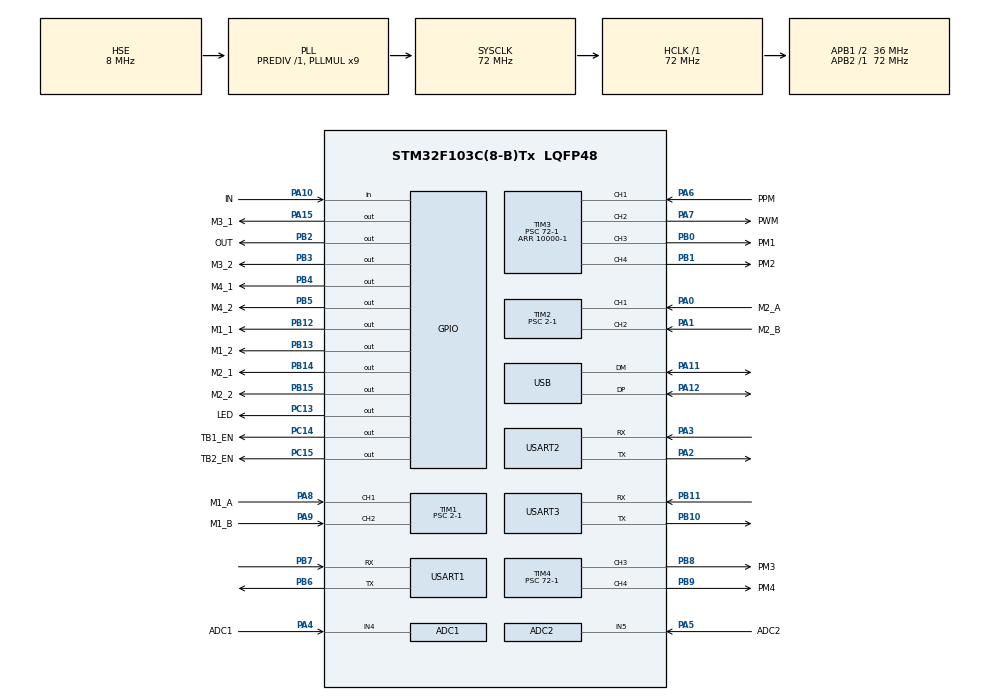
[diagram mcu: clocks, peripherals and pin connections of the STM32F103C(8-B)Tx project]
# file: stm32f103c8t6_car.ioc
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ADC1.Channel-2\#ChannelRegularConversion=ADC_CHANNEL_4
ADC1.NbrOfConversionFlag=1
ADC1.Rank-2\#ChannelRegularConversion=1
ADC1.SamplingTime-2\#ChannelRegularConversion=ADC_SAMPLETIME_1CYCLE_5
ADC1.master=1
ADC2.Channel-2\#ChannelRegularConversion=ADC_CHANNEL_5
ADC2.NbrOfConversionFlag=1
ADC2.Rank-2\#ChannelRegularConversion=1
ADC2.SamplingTime-2\#ChannelRegularConversion=ADC_SAMPLETIME_1CYCLE_5
Mcu.Family=STM32F1
Mcu.Name=STM32F103C(8-B)Tx
Mcu.Package=LQFP48
NVIC.ADC1_2_IRQn=true\:0\:0\:false\:false\:true\:true\:true\:true
NVIC.PriorityGroup=NVIC_PRIORITYGROUP_4
NVIC.TIM1_BRK_IRQn=true\:0\:0\:false\:false\:true\:true\:true\:true
NVIC.TIM1_CC_IRQn=true\:0\:0\:false\:false\:true\:true\:true\:true
NVIC.TIM1_TRG_COM_IRQn=true\:0\:0\:false\:false\:true\:true\:true\:true
NVIC.TIM1_UP_IRQn=true\:0\:0\:false\:false\:true\:true\:true\:true
NVIC.TIM2_IRQn=true\:0\:0\:false\:false\:true\:true\:true\:true
NVIC.TIM3_IRQn=true\:0\:0\:false\:false\:true\:true\:true\:true
NVIC.TIM4_IRQn=true\:0\:0\:false\:false\:true\:true\:true\:true
NVIC.USART1_IRQn=true\:0\:0\:false\:false\:true\:true\:true\:true
NVIC.USART2_IRQn=true\:0\:0\:false\:false\:true\:true\:true\:true
NVIC.USART3_IRQn=true\:0\:0\:false\:false\:true\:true\:true\:true
NVIC.USB_HP_CAN1_TX_IRQn=true\:0\:0\:false\:false\:true\:true\:true\:true
NVIC.USB_LP_CAN1_RX0_IRQn=true\:0\:0\:false\:false\:true\:true\:true\:true
PA0-WKUP.GPIO_Label=M2_A
PA0-WKUP.GPIO_PuPd=GPIO_PULLUP
PA0-WKUP.Signal=S_TIM2_CH1_ETR
PA1.GPIO_Label=M2_B
PA1.GPIO_PuPd=GPIO_PULLUP
PA1.Signal=S_TIM2_CH2
PA10.GPIO_Label=IN
PA10.Signal=GPIO_Input
PA11.Mode=Device
PA11.Signal=USB_DM
PA12.Mode=Device
PA12.Signal=USB_DP
PA13.Mode=Serial_Wire
PA13.Signal=SYS_JTMS-SWDIO
PA14.Mode=Serial_Wire
PA14.Signal=SYS_JTCK-SWCLK
PA15.GPIO_Label=M3_1
PA15.Signal=GPIO_Output
PA2.Mode=Asynchronous
PA2.Signal=USART2_TX
PA3.Mode=Asynchronous
PA3.Signal=USART2_RX
PA4.GPIO_Label=ADC1
PA4.Signal=ADCx_IN4
PA5.GPIO_Label=ADC2
PA5.Signal=ADCx_IN5
PA6.GPIO_Label=PPM
PA6.Signal=S_TIM3_CH1
PA7.GPIO_Label=PWM
PA7.Signal=S_TIM3_CH2
PA8.GPIO_Label=M1_A
PA8.Signal=S_TIM1_CH1
PA9.GPIO_Label=M1_B
PA9.Signal=S_TIM1_CH2
PB0.GPIO_Label=PM1
PB0.Signal=S_TIM3_CH3
PB1.GPIO_Label=PM2
PB1.Signal=S_TIM3_CH4
PB10.Mode=Asynchronous
PB10.Signal=USART3_TX
PB11.Mode=Asynchronous
PB11.Signal=USART3_RX
PB12.GPIO_Label=M1_1
PB12.Signal=GPIO_Output
PB13.GPIO_Label=M1_2
PB13.Signal=GPIO_Output
PB14.GPIO_Label=M2_1
PB14.Signal=GPIO_Output
PB15.GPIO_Label=M2_2
PB15.Signal=GPIO_Output
PB2.GPIO_Label=OUT
PB2.Signal=GPIO_Output
PB3.GPIO_Label=M3_2
PB3.Signal=GPIO_Output
PB4.GPIO_Label=M4_1
PB4.Signal=GPIO_Output
PB5.GPIO_Label=M4_2
PB5.Signal=GPIO_Output
PB6.Mode=Asynchronous
PB6.Signal=USART1_TX
PB7.Mode=Asynchronous
PB7.Signal=USART1_RX
PB8.GPIO_Label=PM3
PB8.Signal=S_TIM4_CH3
PB9.GPIO_Label=PM4
PB9.Signal=S_TIM4_CH4
PC13-TAMPER-RTC.GPIO_Label=LED
PC13-TAMPER-RTC.Signal=GPIO_Output
PC14-OSC32_IN.GPIO_Label=TB1_EN
PC14-OSC32_IN.Signal=GPIO_Output
PC15-OSC32_OUT.GPIO_Label=TB2_EN
PC15-OSC32_OUT.Signal=GPIO_Output
PD0-OSC_IN.Mode=HSE-External-Oscillator
PD0-OSC_IN.Signal=RCC_OSC_IN
PD1-OSC_OUT.Mode=HSE-External-Oscillator
PD1-OSC_OUT.Signal=RCC_OSC_OUT
ProjectManager.HeapSize=0x400
ProjectManager.StackSize=0x800
ProjectManager.TargetToolchain=MDK-ARM V5.32
RCC.ADCPresc=RCC_ADCPCLK2_DIV6
RCC.AHBFreq_Value=72000000
RCC.APB1CLKDivider=RCC_HCLK_DIV2
RCC.APB1Freq_Value=36000000
RCC.APB1TimFreq_Value=72000000
RCC.APB2Freq_Value=72000000
RCC.APB2TimFreq_Value=72000000
RCC.HCLKFreq_Value=72000000
RCC.PLLMUL=RCC_PLL_MUL9
RCC.PLLSourceVirtual=RCC_PLLSOURCE_HSE
RCC.SYSCLKFreq_VALUE=72000000
RCC.SYSCLKSource=RCC_SYSCLKSOURCE_PLLCLK
RCC.USBFreq_Value=48000000
RCC.USBPrescaler=RCC_USBCLKSOURCE_PLL_DIV1_5
SH.ADCx_IN4.0=ADC1_IN4,IN4
SH.ADCx_IN5.0=ADC2_IN5,IN5
SH.S_TIM1_CH1.0=TIM1_CH1,Encoder_Interface
SH.S_TIM1_CH2.0=TIM1_CH2,Encoder_Interface
SH.S_TIM2_CH1_ETR.0=TIM2_CH1,Encoder_Interface
SH.S_TIM2_CH2.0=TIM2_CH2,Encoder_Interface
SH.S_TIM3_CH1.0=TIM3_CH1,Input_Capture1_from_TI1
SH.S_TIM3_CH2.0=TIM3_CH2,PWM Generation2 CH2
SH.S_TIM3_CH3.0=TIM3_CH3,PWM Generation3 CH3
SH.S_TIM3_CH4.0=TIM3_CH4,PWM Generation4 CH4
SH.S_TIM4_CH3.0=TIM4_CH3,PWM Generation3 CH3
SH.S_TIM4_CH4.0=TIM4_CH4,PWM Generation4 CH4
TIM1.AutoReloadPreload=TIM_AUTORELOAD_PRELOAD_ENABLE
TIM1.EncoderMode=TIM_ENCODERMODE_TI12
TIM1.Period=1
TIM1.Prescaler=2-1
TIM2.AutoReloadPreload=TIM_AUTORELOAD_PRELOAD_ENABLE
TIM2.EncoderMode=TIM_ENCODERMODE_TI12
TIM2.Period=1
TIM2.Prescaler=2-1
TIM3.AutoReloadPreload=TIM_AUTORELOAD_PRELOAD_ENABLE
TIM3.Channel-Input_Capture1_from_TI1=TIM_CHANNEL_1
TIM3.Channel-PWM\ Generation2\ CH2=TIM_CHANNEL_2
TIM3.Channel-PWM\ Generation3\ CH3=TIM_CHANNEL_3
TIM3.Channel-PWM\ Generation4\ CH4=TIM_CHANNEL_4
TIM3.Period=10000-1
TIM3.Prescaler=72-1
TIM4.AutoReloadPreload=TIM_AUTORELOAD_PRELOAD_ENABLE
TIM4.Channel-PWM\ Generation3\ CH3=TIM_CHANNEL_3
TIM4.Channel-PWM\ Generation4\ CH4=TIM_CHANNEL_4
TIM4.Period=10000-1
TIM4.Prescaler=72-1
USART1.VirtualMode=VM_ASYNC
USART2.VirtualMode=VM_ASYNC
USART3.VirtualMode=VM_ASYNC
USB_DEVICE.CLASS_NAME_FS=MSC
USB_DEVICE.VirtualMode=Msc
USB_DEVICE.VirtualModeFS=Msc_FS
VP_CRC_VS_CRC.Mode=CRC_Activate
VP_FATFS_VS_Generic.Mode=User_defined
VP_USB_DEVICE_VS_USB_DEVICE_MSC_FS.Mode=MSC_FS
board=custom

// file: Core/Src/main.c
/* USER CODE BEGIN Header */
/**
  ******************************************************************************
  * @file           : main.c
  * @brief          : Main program body
  ******************************************************************************
  * @attention
  *
  * <h2><center>&copy; Copyright (c) 2020 STMicroelectronics.
  * All rights reserved.</center></h2>
  *
  * This software component is licensed by ST under BSD 3-Clause license,
  * the "License"; You may not use this file except in compliance with the
  * License. You may obtain a copy of the License at:
  *                        opensource.org/licenses/BSD-3-Clause
  *
  ******************************************************************************
  */
/* USER CODE END Header */
#include "main.h"
#include "fatfs.h"
#include "usb_device.h"

/* USER CODE BEGIN Includes */
#include "FreeRTOS.h"
#include "task.h"
#include "encoder.h"
#include "stdio.h"
#include "Serial.h"
#include "Motor.h"
#include "pid.h"
#include "ball.h"

static TaskHandle_t AppTaskCreate_Handle;/* 创建任务句柄 */
static TaskHandle_t LED_Task_Handle;	   /* LED任务句柄 */
static void AppTaskCreate(void);         /* 用于创建任务 */
static void LED_Task(void* pvParameters);/* LED_Task任务实现 */

Encoder encoder;
Motor motor;

/* USER CODE END Includes */

ADC_HandleTypeDef hadc1;
ADC_HandleTypeDef hadc2;

CRC_HandleTypeDef hcrc;

TIM_HandleTypeDef htim1;
TIM_HandleTypeDef htim2;
TIM_HandleTypeDef htim3;
TIM_HandleTypeDef htim4;

UART_HandleTypeDef huart1;
UART_HandleTypeDef huart2;
UART_HandleTypeDef huart3;

void SystemClock_Config(void);
static void MX_GPIO_Init(void);
static void MX_USART2_UART_Init(void);
static void MX_USART3_UART_Init(void);
static void MX_CRC_Init(void);
static void MX_TIM1_Init(void);
static void MX_TIM2_Init(void);
static void MX_TIM3_Init(void);
static void MX_TIM4_Init(void);
static void MX_ADC1_Init(void);
static void MX_ADC2_Init(void);
static void MX_USART1_UART_Init(void);

int main(void)
{

  /* MCU Configuration--------------------------------------------------------*/

  /* Reset of all peripherals, Initializes the Flash interface and the Systick. */
  HAL_Init();

  /* Configure the system clock */
  SystemClock_Config();

  /* Initialize all configured peripherals */
  MX_GPIO_Init();
  MX_USART2_UART_Init();
  MX_USART3_UART_Init();
  MX_CRC_Init();
  MX_TIM1_Init();
  MX_TIM2_Init();
  MX_TIM3_Init();
  MX_TIM4_Init();
  MX_ADC1_Init();
  MX_ADC2_Init();
  MX_USART1_UART_Init();
  MX_FATFS_Init();
  MX_USB_DEVICE_Init();
  /* USER CODE BEGIN 2 */

__HAL_TIM_SET_COMPARE(&htim3,TIM_CHANNEL_3,0);
__HAL_TIM_SET_COMPARE(&htim3,TIM_CHANNEL_4,0);
__HAL_TIM_SET_COMPARE(&htim4,TIM_CHANNEL_3,0);
__HAL_TIM_SET_COMPARE(&htim4,TIM_CHANNEL_4,0);
HAL_TIM_PWM_Start(&htim3,TIM_CHANNEL_3);
HAL_TIM_PWM_Start(&htim3,TIM_CHANNEL_4);
HAL_TIM_PWM_Start(&htim4,TIM_CHANNEL_3);
HAL_TIM_PWM_Start(&htim4,TIM_CHANNEL_4);

HAL_GPIO_WritePin(TB1_EN_GPIO_Port, TB1_EN_Pin, GPIO_PIN_SET);

	BaseType_t xReturn = pdPASS;/* 定义一个创建信息返回值，默认为pdPASS */
  /* 配置优先级分组为4 */
	HAL_NVIC_SetPriorityGrouping( NVIC_PRIORITYGROUP_4 );

  /* 创建 AppTaskCreate 任务 */
  xReturn = xTaskCreate((TaskFunction_t )AppTaskCreate,  /* 任务入口函数 */
                        (const char*    )"AppTaskCreate",/* 任务名字 */
                        (uint16_t       )128,  /* 任务栈大小 */
                        (void*          )NULL,/* 任务入口函数参数 */
                        (UBaseType_t    )1, /* 任务的优先级 */
                        (TaskHandle_t*  )&AppTaskCreate_Handle);/* 任务控制块指针 */
  if(pdFAIL != xReturn)/* 创建成功 */
		vTaskStartScheduler();   /* 启动任务，开启调度 */

  /* USER CODE END 2 */

  /* Infinite loop */
  while (1)
  {

    /* USER CODE BEGIN 3 */
	  //HAL_Delay(500);
	  //HAL_GPIO_TogglePin(LED_GPIO_Port, LED_Pin);
  }
  /* USER CODE END 3 */
}

void SystemClock_Config(void)
{
  RCC_OscInitTypeDef RCC_OscInitStruct = {0};
  RCC_ClkInitTypeDef RCC_ClkInitStruct = {0};
  RCC_PeriphCLKInitTypeDef PeriphClkInit = {0};

  /** Initializes the RCC Oscillators according to the specified parameters
  * in the RCC_OscInitTypeDef structure.
  */
  RCC_OscInitStruct.OscillatorType = RCC_OSCILLATORTYPE_HSE;
  RCC_OscInitStruct.HSEState = RCC_HSE_ON;
  RCC_OscInitStruct.HSEPredivValue = RCC_HSE_PREDIV_DIV1;
  RCC_OscInitStruct.HSIState = RCC_HSI_ON;
  RCC_OscInitStruct.PLL.PLLState = RCC_PLL_ON;
  RCC_OscInitStruct.PLL.PLLSource = RCC_PLLSOURCE_HSE;
  RCC_OscInitStruct.PLL.PLLMUL = RCC_PLL_MUL9;
  if (HAL_RCC_OscConfig(&RCC_OscInitStruct) != HAL_OK)
  {
    Error_Handler();
  }

  /** Initializes the CPU, AHB and APB buses clocks
  */
  RCC_ClkInitStruct.ClockType = RCC_CLOCKTYPE_HCLK|RCC_CLOCKTYPE_SYSCLK
                              |RCC_CLOCKTYPE_PCLK1|RCC_CLOCKTYPE_PCLK2;
  RCC_ClkInitStruct.SYSCLKSource = RCC_SYSCLKSOURCE_PLLCLK;
  RCC_ClkInitStruct.AHBCLKDivider = RCC_SYSCLK_DIV1;
  RCC_ClkInitStruct.APB1CLKDivider = RCC_HCLK_DIV2;
  RCC_ClkInitStruct.APB2CLKDivider = RCC_HCLK_DIV1;

  if (HAL_RCC_ClockConfig(&RCC_ClkInitStruct, FLASH_LATENCY_2) != HAL_OK)
  {
    Error_Handler();
  }
  PeriphClkInit.PeriphClockSelection = RCC_PERIPHCLK_ADC|RCC_PERIPHCLK_USB;
  PeriphClkInit.AdcClockSelection = RCC_ADCPCLK2_DIV6;
  PeriphClkInit.UsbClockSelection = RCC_USBCLKSOURCE_PLL_DIV1_5;
  if (HAL_RCCEx_PeriphCLKConfig(&PeriphClkInit) != HAL_OK)
  {
    Error_Handler();
  }
}

static void MX_ADC1_Init(void)
{

  ADC_ChannelConfTypeDef sConfig = {0};

  /** Common config
  */
  hadc1.Instance = ADC1;
  hadc1.Init.ScanConvMode = ADC_SCAN_DISABLE;
  hadc1.Init.ContinuousConvMode = DISABLE;
  hadc1.Init.DiscontinuousConvMode = DISABLE;
  hadc1.Init.ExternalTrigConv = ADC_SOFTWARE_START;
  hadc1.Init.DataAlign = ADC_DATAALIGN_RIGHT;
  hadc1.Init.NbrOfConversion = 1;
  if (HAL_ADC_Init(&hadc1) != HAL_OK)
  {
    Error_Handler();
  }

  /** Configure Regular Channel
  */
  sConfig.Channel = ADC_CHANNEL_4;
  sConfig.Rank = ADC_REGULAR_RANK_1;
  sConfig.SamplingTime = ADC_SAMPLETIME_1CYCLE_5;
  if (HAL_ADC_ConfigChannel(&hadc1, &sConfig) != HAL_OK)
  {
    Error_Handler();
  }

}

static void MX_ADC2_Init(void)
{

  ADC_ChannelConfTypeDef sConfig = {0};

  /** Common config
  */
  hadc2.Instance = ADC2;
  hadc2.Init.ScanConvMode = ADC_SCAN_DISABLE;
  hadc2.Init.ContinuousConvMode = DISABLE;
  hadc2.Init.DiscontinuousConvMode = DISABLE;
  hadc2.Init.ExternalTrigConv = ADC_SOFTWARE_START;
  hadc2.Init.DataAlign = ADC_DATAALIGN_RIGHT;
  hadc2.Init.NbrOfConversion = 1;
  if (HAL_ADC_Init(&hadc2) != HAL_OK)
  {
    Error_Handler();
  }

  /** Configure Regular Channel
  */
  sConfig.Channel = ADC_CHANNEL_5;
  sConfig.Rank = ADC_REGULAR_RANK_1;
  sConfig.SamplingTime = ADC_SAMPLETIME_1CYCLE_5;
  if (HAL_ADC_ConfigChannel(&hadc2, &sConfig) != HAL_OK)
  {
    Error_Handler();
  }

}

static void MX_CRC_Init(void)
{

  hcrc.Instance = CRC;
  if (HAL_CRC_Init(&hcrc) != HAL_OK)
  {
    Error_Handler();
  }

}

static void MX_TIM1_Init(void)
{

  TIM_Encoder_InitTypeDef sConfig = {0};
  TIM_MasterConfigTypeDef sMasterConfig = {0};

  htim1.Instance = TIM1;
  htim1.Init.Prescaler = 2-1;
  htim1.Init.CounterMode = TIM_COUNTERMODE_UP;
  htim1.Init.Period = 1;
  htim1.Init.ClockDivision = TIM_CLOCKDIVISION_DIV1;
  htim1.Init.RepetitionCounter = 0;
  htim1.Init.AutoReloadPreload = TIM_AUTORELOAD_PRELOAD_ENABLE;
  sConfig.EncoderMode = TIM_ENCODERMODE_TI12;
  sConfig.IC1Polarity = TIM_ICPOLARITY_RISING;
  sConfig.IC1Selection = TIM_ICSELECTION_DIRECTTI;
  sConfig.IC1Prescaler = TIM_ICPSC_DIV1;
  sConfig.IC1Filter = 0;
  sConfig.IC2Polarity = TIM_ICPOLARITY_RISING;
  sConfig.IC2Selection = TIM_ICSELECTION_DIRECTTI;
  sConfig.IC2Prescaler = TIM_ICPSC_DIV1;
  sConfig.IC2Filter = 0;
  if (HAL_TIM_Encoder_Init(&htim1, &sConfig) != HAL_OK)
  {
    Error_Handler();
  }
  sMasterConfig.MasterOutputTrigger = TIM_TRGO_RESET;
  sMasterConfig.MasterSlaveMode = TIM_MASTERSLAVEMODE_DISABLE;
  if (HAL_TIMEx_MasterConfigSynchronization(&htim1, &sMasterConfig) != HAL_OK)
  {
    Error_Handler();
  }
  /* USER CODE BEGIN TIM1_Init 2 */
	__HAL_TIM_CLEAR_IT(&htim1,TIM_IT_UPDATE);
	HAL_TIM_Encoder_Start(&htim1, TIM_CHANNEL_ALL);
	__HAL_TIM_ENABLE_IT(&htim1,TIM_IT_UPDATE);
  /* USER CODE END TIM1_Init 2 */

}

static void MX_TIM2_Init(void)
{

  TIM_Encoder_InitTypeDef sConfig = {0};
  TIM_MasterConfigTypeDef sMasterConfig = {0};

  htim2.Instance = TIM2;
  htim2.Init.Prescaler = 2-1;
  htim2.Init.CounterMode = TIM_COUNTERMODE_UP;
  htim2.Init.Period = 1;
  htim2.Init.ClockDivision = TIM_CLOCKDIVISION_DIV1;
  htim2.Init.AutoReloadPreload = TIM_AUTORELOAD_PRELOAD_ENABLE;
  sConfig.EncoderMode = TIM_ENCODERMODE_TI12;
  sConfig.IC1Polarity = TIM_ICPOLARITY_RISING;
  sConfig.IC1Selection = TIM_ICSELECTION_DIRECTTI;
  sConfig.IC1Prescaler = TIM_ICPSC_DIV1;
  sConfig.IC1Filter = 0;
  sConfig.IC2Polarity = TIM_ICPOLARITY_RISING;
  sConfig.IC2Selection = TIM_ICSELECTION_DIRECTTI;
  sConfig.IC2Prescaler = TIM_ICPSC_DIV1;
  sConfig.IC2Filter = 0;
  if (HAL_TIM_Encoder_Init(&htim2, &sConfig) != HAL_OK)
  {
    Error_Handler();
  }
  sMasterConfig.MasterOutputTrigger = TIM_TRGO_RESET;
  sMasterConfig.MasterSlaveMode = TIM_MASTERSLAVEMODE_DISABLE;
  if (HAL_TIMEx_MasterConfigSynchronization(&htim2, &sMasterConfig) != HAL_OK)
  {
    Error_Handler();
  }
  /* USER CODE BEGIN TIM2_Init 2 */
	__HAL_TIM_CLEAR_IT(&htim2,TIM_IT_UPDATE);
	HAL_TIM_Encoder_Start(&htim2, TIM_CHANNEL_ALL);
	__HAL_TIM_ENABLE_IT(&htim2,TIM_IT_UPDATE);

  /* USER CODE END TIM2_Init 2 */

}

static void MX_TIM3_Init(void)
{

  TIM_MasterConfigTypeDef sMasterConfig = {0};
  TIM_IC_InitTypeDef sConfigIC = {0};
  TIM_OC_InitTypeDef sConfigOC = {0};

  htim3.Instance = TIM3;
  htim3.Init.Prescaler = 72-1;
  htim3.Init.CounterMode = TIM_COUNTERMODE_UP;
  htim3.Init.Period = 100-1;
  htim3.Init.ClockDivision = TIM_CLOCKDIVISION_DIV1;
  htim3.Init.AutoReloadPreload = TIM_AUTORELOAD_PRELOAD_ENABLE;
  if (HAL_TIM_IC_Init(&htim3) != HAL_OK)
  {
    Error_Handler();
  }
  if (HAL_TIM_PWM_Init(&htim3) != HAL_OK)
  {
    Error_Handler();
  }
  sMasterConfig.MasterOutputTrigger = TIM_TRGO_RESET;
  sMasterConfig.MasterSlaveMode = TIM_MASTERSLAVEMODE_DISABLE;
  if (HAL_TIMEx_MasterConfigSynchronization(&htim3, &sMasterConfig) != HAL_OK)
  {
    Error_Handler();
  }
  sConfigIC.ICPolarity = TIM_INPUTCHANNELPOLARITY_RISING;
  sConfigIC.ICSelection = TIM_ICSELECTION_DIRECTTI;
  sConfigIC.ICPrescaler = TIM_ICPSC_DIV1;
  sConfigIC.ICFilter = 0;
  if (HAL_TIM_IC_ConfigChannel(&htim3, &sConfigIC, TIM_CHANNEL_1) != HAL_OK)
  {
    Error_Handler();
  }
  sConfigOC.OCMode = TIM_OCMODE_PWM1;
  sConfigOC.Pulse = 0;
  sConfigOC.OCPolarity = TIM_OCPOLARITY_HIGH;
  sConfigOC.OCFastMode = TIM_OCFAST_DISABLE;
  if (HAL_TIM_PWM_ConfigChannel(&htim3, &sConfigOC, TIM_CHANNEL_2) != HAL_OK)
  {
    Error_Handler();
  }
  if (HAL_TIM_PWM_ConfigChannel(&htim3, &sConfigOC, TIM_CHANNEL_3) != HAL_OK)
  {
    Error_Handler();
  }
  if (HAL_TIM_PWM_ConfigChannel(&htim3, &sConfigOC, TIM_CHANNEL_4) != HAL_OK)
  {
    Error_Handler();
  }
  HAL_TIM_MspPostInit(&htim3);

}

static void MX_TIM4_Init(void)
{

  TIM_MasterConfigTypeDef sMasterConfig = {0};
  TIM_OC_InitTypeDef sConfigOC = {0};

  htim4.Instance = TIM4;
  htim4.Init.Prescaler = 72-1;
  htim4.Init.CounterMode = TIM_COUNTERMODE_UP;
  htim4.Init.Period = 1000000-1;
  htim4.Init.ClockDivision = TIM_CLOCKDIVISION_DIV1;
  htim4.Init.AutoReloadPreload = TIM_AUTORELOAD_PRELOAD_ENABLE;
  if (HAL_TIM_PWM_Init(&htim4) != HAL_OK)
  {
    Error_Handler();
  }
  sMasterConfig.MasterOutputTrigger = TIM_TRGO_RESET;
  sMasterConfig.MasterSlaveMode = TIM_MASTERSLAVEMODE_DISABLE;
  if (HAL_TIMEx_MasterConfigSynchronization(&htim4, &sMasterConfig) != HAL_OK)
  {
    Error_Handler();
  }
  sConfigOC.OCMode = TIM_OCMODE_PWM1;
  sConfigOC.Pulse = 0;
  sConfigOC.OCPolarity = TIM_OCPOLARITY_HIGH;
  sConfigOC.OCFastMode = TIM_OCFAST_DISABLE;
  if (HAL_TIM_PWM_ConfigChannel(&htim4, &sConfigOC, TIM_CHANNEL_3) != HAL_OK)
  {
    Error_Handler();
  }
  if (HAL_TIM_PWM_ConfigChannel(&htim4, &sConfigOC, TIM_CHANNEL_4) != HAL_OK)
  {
    Error_Handler();
  }
  HAL_TIM_MspPostInit(&htim4);

}

static void MX_USART1_UART_Init(void)
{

  huart1.Instance = USART1;
  huart1.Init.BaudRate = 115200;
  huart1.Init.WordLength = UART_WORDLENGTH_8B;
  huart1.Init.StopBits = UART_STOPBITS_1;
  huart1.Init.Parity = UART_PARITY_NONE;
  huart1.Init.Mode = UART_MODE_TX_RX;
  huart1.Init.HwFlowCtl = UART_HWCONTROL_NONE;
  huart1.Init.OverSampling = UART_OVERSAMPLING_16;
  if (HAL_UART_Init(&huart1) != HAL_OK)
  {
    Error_Handler();
  }

}

static void MX_USART2_UART_Init(void)
{

  huart2.Instance = USART2;
  huart2.Init.BaudRate = 115200;
  huart2.Init.WordLength = UART_WORDLENGTH_8B;
  huart2.Init.StopBits = UART_STOPBITS_1;
  huart2.Init.Parity = UART_PARITY_NONE;
  huart2.Init.Mode = UART_MODE_TX_RX;
  huart2.Init.HwFlowCtl = UART_HWCONTROL_NONE;
  huart2.Init.OverSampling = UART_OVERSAMPLING_16;
  if (HAL_UART_Init(&huart2) != HAL_OK)
  {
    Error_Handler();
  }

}

static void MX_USART3_UART_Init(void)
{

  huart3.Instance = USART3;
  huart3.Init.BaudRate = 9600;
  huart3.Init.WordLength = UART_WORDLENGTH_8B;
  huart3.Init.StopBits = UART_STOPBITS_1;
  huart3.Init.Parity = UART_PARITY_NONE;
  huart3.Init.Mode = UART_MODE_TX_RX;
  huart3.Init.HwFlowCtl = UART_HWCONTROL_NONE;
  huart3.Init.OverSampling = UART_OVERSAMPLING_16;
  if (HAL_UART_Init(&huart3) != HAL_OK)
  {
    Error_Handler();
  }

}

static void MX_GPIO_Init(void)
{
  GPIO_InitTypeDef GPIO_InitStruct = {0};

  /* GPIO Ports Clock Enable */
  __HAL_RCC_GPIOC_CLK_ENABLE();
  __HAL_RCC_GPIOD_CLK_ENABLE();
  __HAL_RCC_GPIOA_CLK_ENABLE();
  __HAL_RCC_GPIOB_CLK_ENABLE();

  /*Configure GPIO pin Output Level */
  HAL_GPIO_WritePin(GPIOC, LED_Pin|TB1_EN_Pin|TB2_EN_Pin, GPIO_PIN_RESET);

  /*Configure GPIO pin Output Level */
  HAL_GPIO_WritePin(GPIOB, OUT_Pin|M1_1_Pin|M1_2_Pin|M2_1_Pin
                          |M2_2_Pin|M3_2_Pin|M4_1_Pin|M4_2_Pin, GPIO_PIN_RESET);

  /*Configure GPIO pin Output Level */
  HAL_GPIO_WritePin(M3_1_GPIO_Port, M3_1_Pin, GPIO_PIN_RESET);

  /*Configure GPIO pins : LED_Pin TB1_EN_Pin TB2_EN_Pin */
  GPIO_InitStruct.Pin = LED_Pin|TB1_EN_Pin|TB2_EN_Pin;
  GPIO_InitStruct.Mode = GPIO_MODE_OUTPUT_PP;
  GPIO_InitStruct.Pull = GPIO_NOPULL;
  GPIO_InitStruct.Speed = GPIO_SPEED_FREQ_LOW;
  HAL_GPIO_Init(GPIOC, &GPIO_InitStruct);

  /*Configure GPIO pins : OUT_Pin M1_1_Pin M1_2_Pin M2_1_Pin
                           M2_2_Pin M3_2_Pin M4_1_Pin M4_2_Pin */
  GPIO_InitStruct.Pin = OUT_Pin|M1_1_Pin|M1_2_Pin|M2_1_Pin
                          |M2_2_Pin|M3_2_Pin|M4_1_Pin|M4_2_Pin;
  GPIO_InitStruct.Mode = GPIO_MODE_OUTPUT_PP;
  GPIO_InitStruct.Pull = GPIO_NOPULL;
  GPIO_InitStruct.Speed = GPIO_SPEED_FREQ_LOW;
  HAL_GPIO_Init(GPIOB, &GPIO_InitStruct);

  /*Configure GPIO pin : IN_Pin */
  GPIO_InitStruct.Pin = IN_Pin;
  GPIO_InitStruct.Mode = GPIO_MODE_INPUT;
  GPIO_InitStruct.Pull = GPIO_NOPULL;
  HAL_GPIO_Init(IN_GPIO_Port, &GPIO_InitStruct);

  /*Configure GPIO pin : M3_1_Pin */
  GPIO_InitStruct.Pin = M3_1_Pin;
  GPIO_InitStruct.Mode = GPIO_MODE_OUTPUT_PP;
  GPIO_InitStruct.Pull = GPIO_NOPULL;
  GPIO_InitStruct.Speed = GPIO_SPEED_FREQ_LOW;
  HAL_GPIO_Init(M3_1_GPIO_Port, &GPIO_InitStruct);

}

/* USER CODE BEGIN 4 */

/***********************************************************************
  * @ 函数名  ： AppTaskCreate
  * @ 功能说明： 为了方便管理，所有的任务创建函数都放在这个函数里面
  * @ 参数    ： 无
  * @ 返回值  ： 无
  **********************************************************************/
static void AppTaskCreate(void)
{
  BaseType_t xReturn = pdPASS;/* 定义一个创建信息返回值，默认为pdPASS */
  taskENTER_CRITICAL();           //进入临界区

  /* 创建LED_Task任务 */

  xReturn = xTaskCreate((TaskFunction_t )LED_Task, /* 任务入口函数 */
                        (const char*    )"LED_Task",/* 任务名字 */
                        (uint16_t       )256,   /* 任务栈大小 */
                        (void*          )NULL,	/* 任务入口函数参数 */
                       (UBaseType_t    )2,	    /* 任务的优先级 */
                       (TaskHandle_t*  )&LED_Task_Handle);/* 任务控制块指针 */
	if(pdFAIL != xReturn)/* 创建成功 */
  {
    //...
  }

	xReturn = xTaskCreate((TaskFunction_t )Encoder_Task, /* 任务入口函数 */
                        (const char*    )"Encoder_Task",/* 任务名字 */
                        (uint16_t       )128,   /* 任务栈大小 */
                        (void*          )NULL,	/* 任务入口函数参数 */
                        (UBaseType_t    )2,	    /* 任务的优先级 */
                        (TaskHandle_t*  )&Encoder_Task_Handle);/* 任务控制块指针 */
	if(pdFAIL != xReturn)/* 创建成功 */
  {
    //...
  }

	xReturn = xTaskCreate((TaskFunction_t )Motor_Task,
                        (const char*    )"Motor_Task",
                        (uint16_t       )128,
                        (void*          )NULL,
                        (UBaseType_t    )2,
                        (TaskHandle_t*  )&Motor_Task_Handle);
	if(pdFAIL != xReturn)
  {
    //...
  }

	xReturn = xTaskCreate((TaskFunction_t )Pid_Task,
                        (const char*    )"Pid_Task",
                        (uint16_t       )128,
                        (void*          )NULL,
                        (UBaseType_t    )2,
                        (TaskHandle_t*  )&Pid_Task_Handle);
	if(pdFAIL != xReturn)
  {
    //...
  }

	xReturn = xTaskCreate((TaskFunction_t )Ball_Task,
                        (const char*    )"Ball_Task",
                        (uint16_t       )128,
                        (void*          )NULL,
                        (UBaseType_t    )2,
                        (TaskHandle_t*  )&Ball_Task_Handle);
	if(pdFAIL != xReturn)
  {
    //...
  }

  vTaskDelete(AppTaskCreate_Handle); //删除AppTaskCreate任务

  taskEXIT_CRITICAL();            //退出临界区
}

/**********************************************************************
  * @ 函数名  ： LED_Task
  * @ 功能说明： LED_Task任务主体
  * @ 参数    ：
  * @ 返回值  ： 无
  ********************************************************************/
static void LED_Task(void* parameter)
{

    while (1)
    {
				//当检测到编码器数据（轮子运动）时，板载LED灯亮起，同时复位计数器
				if(encoder.m1.Encoder_Val!=0){
					HAL_GPIO_WritePin(LED_GPIO_Port, LED_Pin, GPIO_PIN_RESET);   // 设置引脚为低电平

					encoder.m1.Encoder_Val = 0;
				}else{
					HAL_GPIO_WritePin(LED_GPIO_Port, LED_Pin, GPIO_PIN_SET);   // 设置引脚为高电平
				}

				vTaskDelay(20);   /* 延时500个tick */
				//printf("Num=%llu,Pos=%f,Vel=%f,ZF=%d\n",encoder.m1.Encoder_Num,encoder.m1.Odometer,encoder.m1.Vel,encoder.m1.Encoder_Dir);

        //HAL_GPIO_TogglePin(LED_GPIO_Port, LED_Pin);
        //vTaskDelay(1500);   /* 延时500个tick */
    }
}

/* USER CODE END 4 */

void Error_Handler(void)
{
}
